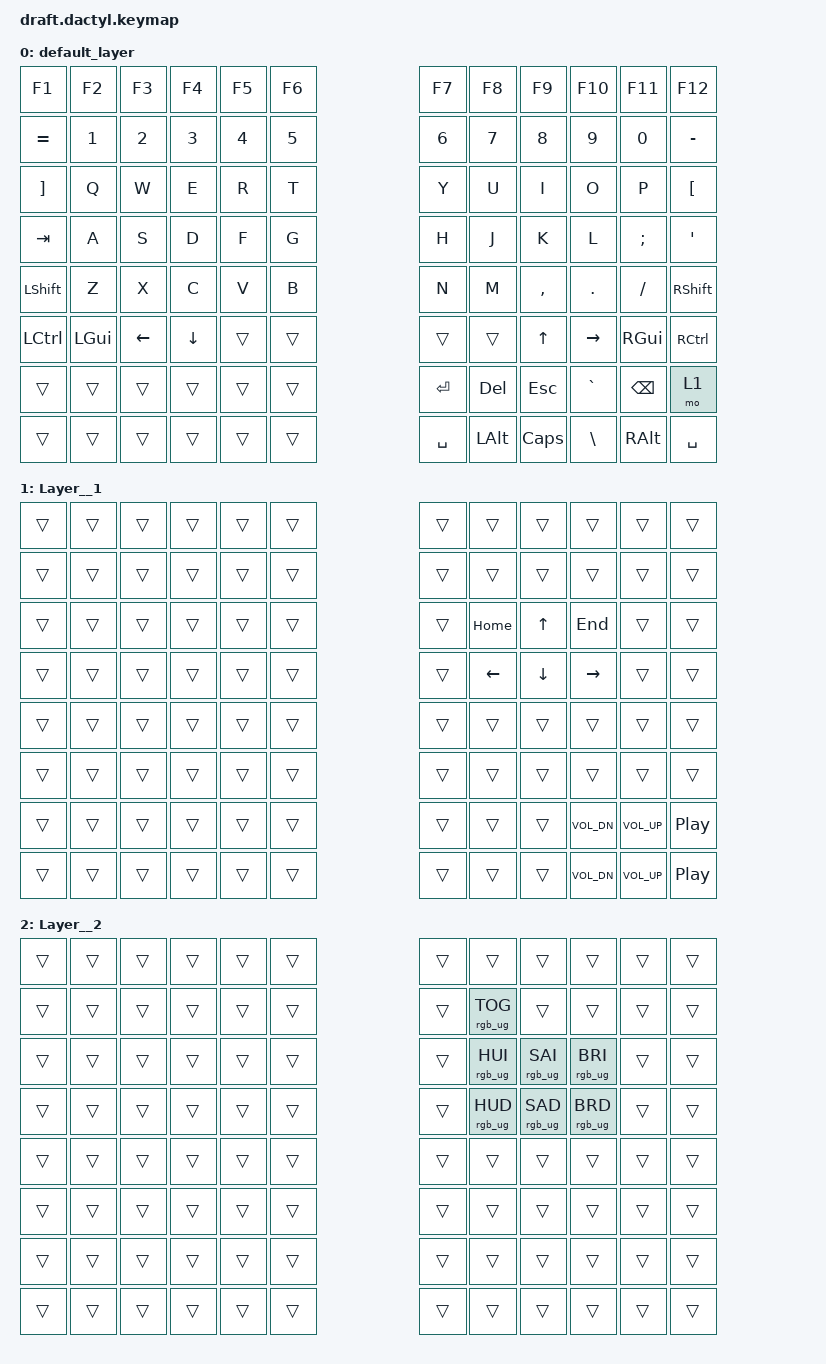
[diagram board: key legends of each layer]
#include <behaviors.dtsi>
#include <dt-bindings/zmk/bt.h>
#include <dt-bindings/zmk/keys.h>
#include <dt-bindings/zmk/outputs.h>
#include <dt-bindings/zmk/rgb.h>
#include <dt-bindings/zmk/ext_power.h>

/ {
    chosen { zmk,matrix-transform = &dactyl_manuform_full;
    };
    keymap {
        compatible = "zmk,keymap";

        default_layer {
            bindings = <
 &kp F1     &kp F2    &kp F3    &kp F4    &kp F5  &kp F6                                         &kp F7      &kp F8     &kp F9     &kp F10    &kp F11   &kp F12
 &kp EQUAL  &kp N1    &kp N2    &kp N3    &kp N4  &kp N5                                         &kp N6      &kp N7     &kp N8     &kp N9     &kp N0    &kp MINUS
 &kp RBKT   &kp Q     &kp W     &kp E     &kp R   &kp T                                          &kp Y       &kp U      &kp I      &kp O      &kp P     &kp LBKT
 &kp TAB    &kp A     &kp S     &kp D     &kp F   &kp G                                          &kp H       &kp J      &kp K      &kp L      &kp SEMI  &kp SQT
 &kp LSHFT  &kp Z     &kp X     &kp C     &kp V   &kp B                                          &kp N       &kp M      &kp COMMA  &kp DOT    &kp FSLH  &kp RSHFT
 &kp LCTRL  &kp LGUI  &kp LEFT  &kp DOWN  &trans  &trans                                        &trans      &trans     &kp UP     &kp RIGHT  &kp RGUI  &kp RCTRL
 &trans     &trans    &trans    &trans    &trans  &trans                                         &kp RET     &kp DEL    &kp ESC    &kp GRAVE  &kp BSPC  &mo 1
 &trans     &trans    &trans    &trans    &trans  &trans                                         &kp SPACE   &kp LALT   &kp CAPS   &kp BSLH   &kp RALT  &kp SPACE
            >;
        };

        Layer__1 {
            bindings = <
 &trans  &trans  &trans  &trans  &trans  &trans                                     &trans  &trans   &trans   &trans    &trans  &trans
 &trans  &trans  &trans  &trans  &trans  &trans                                     &trans  &trans   &trans   &trans    &trans  &trans
 &trans  &trans  &trans  &trans  &trans  &trans                                     &trans  &kp HOME &kp UP   &kp END   &trans  &trans
 &trans  &trans  &trans  &trans  &trans  &trans                                     &trans  &kp LEFT &kp DOWN &kp RIGHT &trans  &trans
 &trans  &trans  &trans  &trans  &trans  &trans                                     &trans  &trans   &trans   &trans    &trans  &trans
 &trans  &trans  &trans  &trans  &trans  &trans                                     &trans  &trans   &trans   &trans    &trans  &trans
 &trans  &trans  &trans  &trans  &trans  &trans                                     &trans  &trans   &trans   &kp C_VOL_DN &kp C_VOL_UP &kp C_PP
 &trans  &trans  &trans  &trans  &trans  &trans                                     &trans  &trans   &trans   &kp C_VOL_DN &kp C_VOL_UP &kp C_PP
            >;
        };

        Layer__2 {
            bindings = <
 &trans  &trans  &trans  &trans  &trans  &trans                                     &trans  &trans           &trans  &trans  &trans  &trans
 &trans  &trans  &trans  &trans  &trans  &trans                                     &trans  &rgb_ug RGB_TOG  &trans  &trans  &trans  &trans
 &trans  &trans  &trans  &trans  &trans  &trans                                     &trans  &rgb_ug RGB_HUI  &rgb_ug RGB_SAI  &rgb_ug RGB_BRI  &trans  &trans
 &trans  &trans  &trans  &trans  &trans  &trans                                     &trans  &rgb_ug RGB_HUD  &rgb_ug RGB_SAD  &rgb_ug RGB_BRD  &trans  &trans
 &trans  &trans  &trans  &trans  &trans  &trans                                     &trans  &trans  &trans  &trans  &trans  &trans
 &trans  &trans  &trans  &trans  &trans  &trans                                     &trans  &trans  &trans  &trans  &trans  &trans
 &trans  &trans  &trans  &trans  &trans  &trans                                     &trans  &trans  &trans  &trans  &trans  &trans
 &trans  &trans  &trans  &trans  &trans  &trans                                     &trans  &trans  &trans  &trans  &trans  &trans
            >;
        };
    };
};
